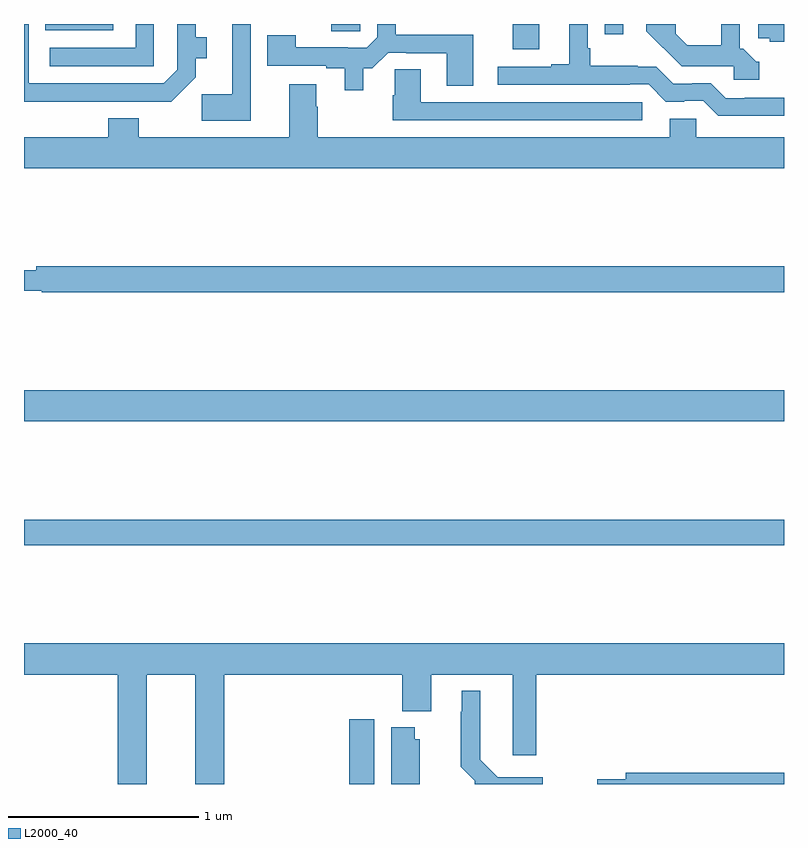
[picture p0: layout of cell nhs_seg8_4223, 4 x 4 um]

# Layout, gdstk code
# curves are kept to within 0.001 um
import gdstk
lib = gdstk.Library(unit=1e-6, precision=1e-09)
def R(c, l, rs):  # rectangles x0, y0, x1, y1
    for r in rs: c.add(gdstk.rectangle(r[:2], r[2:], *l))
def P(c, l, *ps):  # polygons
    for p in ps: c.add(gdstk.Polygon(p, *l))
L2000_40 = (2000, 40)

nhs_seg8_4223 = lib.new_cell('nhs_seg8_4223')
R(nhs_seg8_4223, L2000_40, [(370.712,1139.9,370.843,1140.241), (369,1141.156,373,1141.292), (369,1141.808,373,1141.972), (371.573,1143.768,371.713,1143.9), (372.057,1143.846,372.153,1143.9), (370.618,1143.862,370.771,1143.9), (369.113,1143.866,369.469,1143.9)])
P(nhs_seg8_4223, L2000_40, [(369.684,1143.9),(369.588,1143.9),(369.588,1143.774),(369.135,1143.774),(369.135,1143.678),(369.684,1143.678)],
  [(372.851,1143.417),(373,1143.417),(373,1143.513),(372.793,1143.513),(372.793,1143.51),(372.693,1143.51),(372.615,1143.588),(372.518,1143.588),(372.518,1143.585),(372.417,1143.585),(372.327,1143.675),(372.23,1143.675),(372.23,1143.679),(371.98,1143.679),(371.98,1143.772),(371.967,1143.772),(371.967,1143.9),(371.87,1143.9),(371.87,1143.688),(371.774,1143.688),(371.774,1143.675),(371.493,1143.675),(371.493,1143.579),(372.188,1143.579),(372.188,1143.582),(372.288,1143.582),(372.378,1143.492),(372.476,1143.492),(372.476,1143.495),(372.576,1143.495),(372.655,1143.416)],
  [(372.871,1143.702),(372.855,1143.702),(372.786,1143.771),(372.768,1143.771),(372.768,1143.9),(372.67,1143.9),(372.67,1143.789),(372.491,1143.789),(372.43,1143.85),(372.43,1143.9),(372.276,1143.9),(372.276,1143.862),(372.461,1143.678),(372.735,1143.678),(372.735,1143.606),(372.871,1143.606)],
  [(373,1143.9),(372.864,1143.9),(372.864,1143.825),(372.924,1143.825),(372.924,1143.806),(373,1143.806)],
  [(370.194,1143.9),(370.097,1143.9),(370.097,1143.531),(369.936,1143.531),(369.936,1143.392),(370.194,1143.392)],
  [(369.359,1143.492),(369.775,1143.491),(369.905,1143.62),(369.905,1143.719),(369.961,1143.719),(369.961,1143.829),(369.904,1143.829),(369.904,1143.9),(369.807,1143.9),(369.807,1143.66),(369.735,1143.588),(369.024,1143.588),(369.024,1143.9),(369,1143.9),(369,1143.491)],
  [(370.786,1143.666),(370.833,1143.666),(370.917,1143.75),(371.011,1143.75),(371.011,1143.747),(371.225,1143.747),(371.225,1143.574),(371.365,1143.574),(371.365,1143.843),(370.956,1143.843),(370.956,1143.9),(370.86,1143.9),(370.86,1143.831),(370.803,1143.774),(370.703,1143.774),(370.703,1143.777),(370.431,1143.777),(370.431,1143.842),(370.279,1143.842),(370.279,1143.681),(370.592,1143.681),(370.592,1143.666),(370.688,1143.666),(370.688,1143.552),(370.786,1143.552)],
  [(372.253,1143.489),(371.089,1143.489),(371.089,1143.662),(370.951,1143.662),(370.951,1143.525),(370.942,1143.525),(370.942,1143.393),(372.253,1143.393)],
  [(373,1143.304),(372.537,1143.304),(372.537,1143.402),(372.398,1143.402),(372.398,1143.304),(370.545,1143.304),(370.545,1143.464),(370.537,1143.464),(370.537,1143.583),(370.397,1143.583),(370.397,1143.304),(369.603,1143.304),(369.603,1143.403),(369.443,1143.403),(369.443,1143.304),(369,1143.304),(369,1143.14),(373,1143.14)],
  [(373,1142.624),(369.064,1142.624),(369.064,1142.605),(369,1142.605),(369,1142.496),(369.094,1142.496),(369.094,1142.488),(373,1142.488)],
  [(369.646,1140.476),(369.902,1140.476),(369.902,1139.9),(370.055,1139.9),(370.055,1140.476),(370.991,1140.476),(370.991,1140.284),(371.143,1140.284),(371.143,1140.476),(371.573,1140.476),(371.573,1140.051),(371.696,1140.051),(371.696,1140.476),(373,1140.476),(373,1140.64),(369,1140.64),(369,1140.476),(369.494,1140.476),(369.494,1139.9),(369.646,1139.9)],
  [(371.731,1139.935),(371.493,1139.935),(371.401,1140.028),(371.401,1140.391),(371.303,1140.391),(371.303,1140.281),(371.299,1140.281),(371.299,1139.99),(371.373,1139.916),(371.373,1139.9),(371.731,1139.9)],
  [(371.083,1140.135),(371.056,1140.135),(371.056,1140.199),(370.934,1140.199),(370.934,1139.9),(371.083,1139.9)],
  [(373,1139.96),(372.167,1139.96),(372.167,1139.924),(372.018,1139.924),(372.018,1139.9),(373,1139.9)])

lib.write_gds('nhs_seg8_4223.gds')
